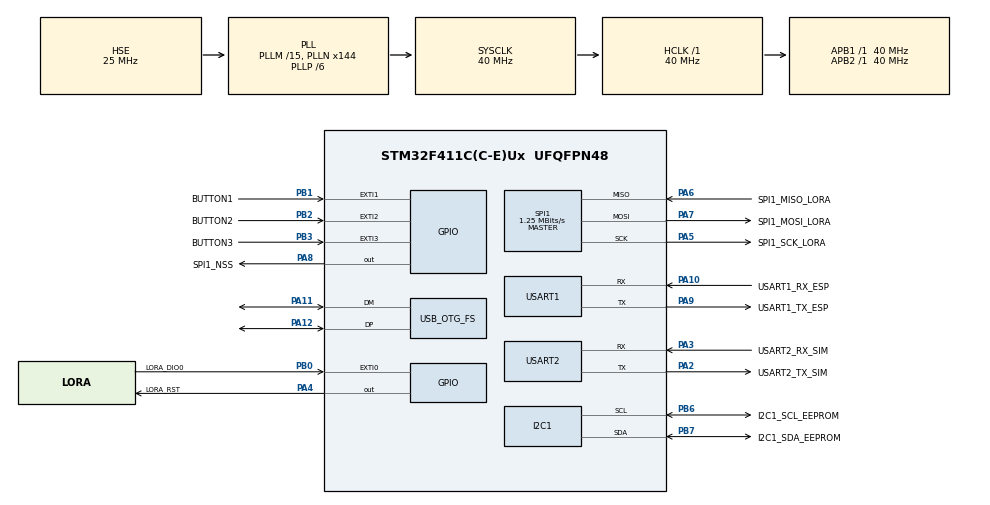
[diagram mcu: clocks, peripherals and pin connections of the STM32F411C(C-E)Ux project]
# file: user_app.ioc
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FREERTOS.Tasks01=defaultTask,0,128,StartDefaultTask,Default,NULL,Dynamic,NULL,NULL
FREERTOS.configTOTAL_HEAP_SIZE=32768
FREERTOS.configUSE_COUNTING_SEMAPHORES=1
FREERTOS.configUSE_IDLE_HOOK=1
FREERTOS.configUSE_TIMERS=1
I2C1.I2C_Mode=I2C_Standard
Mcu.Family=STM32F4
Mcu.Name=STM32F411C(C-E)Ux
Mcu.Package=UFQFPN48
NVIC.EXTI0_IRQn=true\:7\:0\:true\:false\:true\:true\:true\:true\:true
NVIC.EXTI1_IRQn=true\:8\:0\:true\:false\:true\:true\:true\:true\:true
NVIC.EXTI2_IRQn=true\:8\:0\:true\:false\:true\:true\:true\:true\:true
NVIC.EXTI3_IRQn=true\:8\:0\:true\:false\:true\:true\:true\:true\:true
NVIC.OTG_FS_IRQn=true\:5\:0\:true\:false\:true\:true\:false\:true\:true
NVIC.PriorityGroup=NVIC_PRIORITYGROUP_4
NVIC.TIM2_IRQn=true\:6\:0\:true\:false\:true\:true\:true\:true\:true
NVIC.TIM3_IRQn=true\:5\:0\:true\:false\:true\:false\:false\:true\:true
NVIC.TIM4_IRQn=true\:6\:0\:true\:false\:true\:true\:true\:true\:true
NVIC.TimeBase=TIM3_IRQn
NVIC.TimeBaseIP=TIM3
PA10.GPIO_Label=USART1_RX_ESP
PA10.Mode=Asynchronous
PA10.Signal=USART1_RX
PA11.Mode=Device_Only
PA11.Signal=USB_OTG_FS_DM
PA12.Mode=Device_Only
PA12.Signal=USB_OTG_FS_DP
PA13.Mode=Serial_Wire
PA13.Signal=SYS_JTMS-SWDIO
PA14.Mode=Serial_Wire
PA14.Signal=SYS_JTCK-SWCLK
PA2.GPIO_Label=USART2_TX_SIM
PA2.Mode=Asynchronous
PA2.Signal=USART2_TX
PA3.GPIO_Label=USART2_RX_SIM
PA3.Mode=Asynchronous
PA3.Signal=USART2_RX
PA4.GPIO_Label=LORA_RST
PA4.GPIO_Speed=GPIO_SPEED_FREQ_MEDIUM
PA4.Signal=GPIO_Output
PA5.GPIO_Label=SPI1_SCK_LORA
PA5.Mode=Full_Duplex_Master
PA5.Signal=SPI1_SCK
PA6.GPIO_Label=SPI1_MISO_LORA
PA6.Mode=Full_Duplex_Master
PA6.Signal=SPI1_MISO
PA7.GPIO_Label=SPI1_MOSI_LORA
PA7.Mode=Full_Duplex_Master
PA7.Signal=SPI1_MOSI
PA8.GPIO_Label=SPI1_NSS
PA8.GPIO_Speed=GPIO_SPEED_FREQ_MEDIUM
PA8.Signal=GPIO_Output
PA9.GPIO_Label=USART1_TX_ESP
PA9.Mode=Asynchronous
PA9.Signal=USART1_TX
PB0.GPIO_Label=LORA_DIO0
PB0.Signal=GPXTI0
PB1.GPIO_Label=BUTTON1
PB1.GPIO_PuPd=GPIO_PULLDOWN
PB1.Signal=GPXTI1
PB2.GPIO_Label=BUTTON2
PB2.GPIO_PuPd=GPIO_PULLDOWN
PB2.Signal=GPXTI2
PB3.GPIO_Label=BUTTON3
PB3.GPIO_PuPd=GPIO_PULLDOWN
PB3.Signal=GPXTI3
PB6.GPIO_Label=I2C1_SCL_EEPROM
PB6.Mode=I2C
PB6.Signal=I2C1_SCL
PB7.GPIO_Label=I2C1_SDA_EEPROM
PB7.Mode=I2C
PB7.Signal=I2C1_SDA
PH0\ -\ OSC_IN.Mode=HSE-External-Oscillator
PH0\ -\ OSC_IN.Signal=RCC_OSC_IN
PH1\ -\ OSC_OUT.Mode=HSE-External-Oscillator
PH1\ -\ OSC_OUT.Signal=RCC_OSC_OUT
ProjectManager.HeapSize=0x200
ProjectManager.StackSize=0x400
ProjectManager.TargetToolchain=STM32CubeIDE
RCC.48MHZClocksFreq_Value=48000000
RCC.AHBFreq_Value=40000000
RCC.APB1Freq_Value=40000000
RCC.APB1TimFreq_Value=40000000
RCC.APB2Freq_Value=40000000
RCC.APB2TimFreq_Value=40000000
RCC.CortexFreq_Value=40000000
RCC.HCLKFreq_Value=40000000
RCC.HSE_VALUE=25000000
RCC.HSI_VALUE=16000000
RCC.LSE_VALUE=32768
RCC.PLLM=15
RCC.PLLN=144
RCC.PLLP=RCC_PLLP_DIV6
RCC.PLLQ=5
RCC.SYSCLKFreq_VALUE=40000000
RCC.SYSCLKSource=RCC_SYSCLKSOURCE_PLLCLK
RCC.VCOOutputFreq_Value=240000000
SPI1.BaudRatePrescaler=SPI_BAUDRATEPRESCALER_32
SPI1.CalculateBaudRate=1.25 MBits/s
SPI1.Direction=SPI_DIRECTION_2LINES
SPI1.Mode=SPI_MODE_MASTER
SPI1.VirtualType=VM_MASTER
TIM2.Period=1000-1
TIM2.Prescaler=40-1
TIM4.Period=100-1
TIM4.Prescaler=40000-1
USART1.VirtualMode=VM_ASYNC
USART2.VirtualMode=VM_ASYNC
USB_DEVICE.APP_RX_DATA_SIZE=64
USB_DEVICE.APP_TX_DATA_SIZE=64
USB_DEVICE.CLASS_NAME_FS=CDC
USB_DEVICE.VirtualMode=Cdc
USB_DEVICE.VirtualModeFS=Cdc_FS
USB_OTG_FS.VirtualMode=Device_Only
VP_FREERTOS_VS_CMSIS_V1.Mode=CMSIS_V1
VP_SYS_VS_tim3.Mode=TIM3
VP_TIM2_VS_ClockSourceINT.Mode=Internal
VP_TIM4_VS_ClockSourceINT.Mode=Internal
VP_USB_DEVICE_VS_USB_DEVICE_CDC_FS.Mode=CDC_FS
board=custom

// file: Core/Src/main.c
/* USER CODE BEGIN Header */
/**
  ******************************************************************************
  * @file           : main.c
  * @brief          : Main program body
  ******************************************************************************
  * @attention
  *
  * Copyright (c) 2025 STMicroelectronics.
  * All rights reserved.
  *
  * This software is licensed under terms that can be found in the LICENSE file
  * in the root directory of this software component.
  * If no LICENSE file comes with this software, it is provided AS-IS.
  *
  ******************************************************************************
  */
/* USER CODE END Header */
#include "main.h"
#include "cmsis_os.h"
#include "usb_device.h"

/* USER CODE BEGIN Includes */
#include "string.h"
#include "lora_network.h"
/* USER CODE END Includes */

/* USER CODE BEGIN PM */
extern LoRa myLoRa;
/* USER CODE END PM */

I2C_HandleTypeDef hi2c1;

SPI_HandleTypeDef hspi1;

TIM_HandleTypeDef htim2;
TIM_HandleTypeDef htim4;

UART_HandleTypeDef huart1;
UART_HandleTypeDef huart2;

void SystemClock_Config(void);
static void MX_GPIO_Init(void);
static void MX_USART1_UART_Init(void);
static void MX_SPI1_Init(void);
static void MX_I2C1_Init(void);
static void MX_USART2_UART_Init(void);
static void MX_TIM2_Init(void);
static void MX_TIM4_Init(void);
void StartDefaultTask(void const * argument);

/* USER CODE BEGIN PFP */
volatile uint8_t a = 0;
/* USER CODE END PFP */

/* USER CODE BEGIN 0 */

void HAL_GPIO_EXTI_Callback(uint16_t GPIO_Pin){
	if((GPIO_Pin == BUTTON1_Pin)){
		__HAL_GPIO_EXTI_CLEAR_IT(GPIO_Pin);
		HAL_Delay(1000);
		if(HAL_GPIO_ReadPin(GPIOB, GPIO_Pin) == GPIO_PIN_RESET) return;
		uint8_t test_buffer[3];
		HAL_UART_Transmit(&huart2, "Test1\n", 6, 2000);

		test_buffer[0] = 0;
		test_buffer[1] = PC_CMD_CONNECT_TO_ALL_NODES;
		test_buffer[2] = 0;
		pc_user_cmd_handle(test_buffer);

	}
	else if(GPIO_Pin == BUTTON2_Pin){
		__HAL_GPIO_EXTI_CLEAR_IT(GPIO_Pin);
		HAL_Delay(1000);
		if(HAL_GPIO_ReadPin(GPIOB, GPIO_Pin) == GPIO_PIN_RESET) return;
		HAL_UART_Transmit(&huart2, "Test2\n", 6, 2000);
		uint8_t test_buffer[3];
		test_buffer[0] = 0;
		test_buffer[1] = PC_CMD_CONNECT_TO_SPECIFIC_NODE;
		test_buffer[2] = 4;
		pc_user_cmd_handle(test_buffer);

	}

	else if(GPIO_Pin == BUTTON3_Pin){
		__HAL_GPIO_EXTI_CLEAR_IT(GPIO_Pin);
		HAL_Delay(1000);
		if(HAL_GPIO_ReadPin(BUTTON3_GPIO_Port, GPIO_Pin) == GPIO_PIN_RESET) return;
		HAL_UART_Transmit(&huart2, "Test3\n", 6, 2000);
		uint8_t test_buffer[3];

		test_buffer[0] = 0;
		test_buffer[1] = PC_CMD_DISCONNECT_TO_ALL_NODES;
		test_buffer[2] = 0;
		pc_user_cmd_handle(test_buffer);
	}

	else if(GPIO_Pin == LORA_DIO0_Pin){
		int buf = 0;
		HAL_UART_Transmit(&huart2, "DIO0\n", 5, 2000);
		lora_network_irq_handle();
	}
}

/* USER CODE END 0 */

int main(void)
{

  /* MCU Configuration--------------------------------------------------------*/

  /* Reset of all peripherals, Initializes the Flash interface and the Systick. */
  HAL_Init();

  /* Configure the system clock */
  SystemClock_Config();

  /* Initialize all configured peripherals */
  MX_GPIO_Init();
  HAL_Delay(200);
  MX_USB_DEVICE_Init();

  MX_USART1_UART_Init();
  MX_SPI1_Init();
  MX_I2C1_Init();
  MX_USART2_UART_Init();
  MX_TIM2_Init();
  MX_TIM4_Init();
  /* USER CODE BEGIN 2 */

  lora_network_init(5);

  /* USER CODE END 2 */

  /* Create the thread(s) */
  /* definition and creation of defaultTask */

  /* Start scheduler */
  vTaskStartScheduler();

  /* We should never get here as control is now taken by the scheduler */

  /* Infinite loop */
  while (1)
  {

  }
}

void SystemClock_Config(void)
{
  RCC_OscInitTypeDef RCC_OscInitStruct = {0};
  RCC_ClkInitTypeDef RCC_ClkInitStruct = {0};

  /** Configure the main internal regulator output voltage
  */
  __HAL_RCC_PWR_CLK_ENABLE();
  __HAL_PWR_VOLTAGESCALING_CONFIG(PWR_REGULATOR_VOLTAGE_SCALE1);

  /** Initializes the RCC Oscillators according to the specified parameters
  * in the RCC_OscInitTypeDef structure.
  */
  RCC_OscInitStruct.OscillatorType = RCC_OSCILLATORTYPE_HSE;
  RCC_OscInitStruct.HSEState = RCC_HSE_ON;
  RCC_OscInitStruct.PLL.PLLState = RCC_PLL_ON;
  RCC_OscInitStruct.PLL.PLLSource = RCC_PLLSOURCE_HSE;
  RCC_OscInitStruct.PLL.PLLM = 15;
  RCC_OscInitStruct.PLL.PLLN = 144;
  RCC_OscInitStruct.PLL.PLLP = RCC_PLLP_DIV6;
  RCC_OscInitStruct.PLL.PLLQ = 5;
  if (HAL_RCC_OscConfig(&RCC_OscInitStruct) != HAL_OK)
  {
    Error_Handler();
  }

  /** Initializes the CPU, AHB and APB buses clocks
  */
  RCC_ClkInitStruct.ClockType = RCC_CLOCKTYPE_HCLK|RCC_CLOCKTYPE_SYSCLK
                              |RCC_CLOCKTYPE_PCLK1|RCC_CLOCKTYPE_PCLK2;
  RCC_ClkInitStruct.SYSCLKSource = RCC_SYSCLKSOURCE_PLLCLK;
  RCC_ClkInitStruct.AHBCLKDivider = RCC_SYSCLK_DIV1;
  RCC_ClkInitStruct.APB1CLKDivider = RCC_HCLK_DIV1;
  RCC_ClkInitStruct.APB2CLKDivider = RCC_HCLK_DIV1;

  if (HAL_RCC_ClockConfig(&RCC_ClkInitStruct, FLASH_LATENCY_1) != HAL_OK)
  {
    Error_Handler();
  }
}

static void MX_I2C1_Init(void)
{

  hi2c1.Instance = I2C1;
  hi2c1.Init.ClockSpeed = 100000;
  hi2c1.Init.DutyCycle = I2C_DUTYCYCLE_2;
  hi2c1.Init.OwnAddress1 = 0;
  hi2c1.Init.AddressingMode = I2C_ADDRESSINGMODE_7BIT;
  hi2c1.Init.DualAddressMode = I2C_DUALADDRESS_DISABLE;
  hi2c1.Init.OwnAddress2 = 0;
  hi2c1.Init.GeneralCallMode = I2C_GENERALCALL_DISABLE;
  hi2c1.Init.NoStretchMode = I2C_NOSTRETCH_DISABLE;
  if (HAL_I2C_Init(&hi2c1) != HAL_OK)
  {
    Error_Handler();
  }

}

static void MX_SPI1_Init(void)
{

  /* SPI1 parameter configuration*/
  hspi1.Instance = SPI1;
  hspi1.Init.Mode = SPI_MODE_MASTER;
  hspi1.Init.Direction = SPI_DIRECTION_2LINES;
  hspi1.Init.DataSize = SPI_DATASIZE_8BIT;
  hspi1.Init.CLKPolarity = SPI_POLARITY_LOW;
  hspi1.Init.CLKPhase = SPI_PHASE_1EDGE;
  hspi1.Init.NSS = SPI_NSS_SOFT;
  hspi1.Init.BaudRatePrescaler = SPI_BAUDRATEPRESCALER_32;
  hspi1.Init.FirstBit = SPI_FIRSTBIT_MSB;
  hspi1.Init.TIMode = SPI_TIMODE_DISABLE;
  hspi1.Init.CRCCalculation = SPI_CRCCALCULATION_DISABLE;
  hspi1.Init.CRCPolynomial = 10;
  if (HAL_SPI_Init(&hspi1) != HAL_OK)
  {
    Error_Handler();
  }

}

static void MX_TIM2_Init(void)
{

  TIM_ClockConfigTypeDef sClockSourceConfig = {0};
  TIM_MasterConfigTypeDef sMasterConfig = {0};

  htim2.Instance = TIM2;
  htim2.Init.Prescaler = 40000-1;
  htim2.Init.CounterMode = TIM_COUNTERMODE_UP;
  htim2.Init.Period = 1000-1;
  htim2.Init.ClockDivision = TIM_CLOCKDIVISION_DIV1;
  htim2.Init.AutoReloadPreload = TIM_AUTORELOAD_PRELOAD_DISABLE;
  if (HAL_TIM_Base_Init(&htim2) != HAL_OK)
  {
    Error_Handler();
  }
  sClockSourceConfig.ClockSource = TIM_CLOCKSOURCE_INTERNAL;
  if (HAL_TIM_ConfigClockSource(&htim2, &sClockSourceConfig) != HAL_OK)
  {
    Error_Handler();
  }
  sMasterConfig.MasterOutputTrigger = TIM_TRGO_RESET;
  sMasterConfig.MasterSlaveMode = TIM_MASTERSLAVEMODE_DISABLE;
  if (HAL_TIMEx_MasterConfigSynchronization(&htim2, &sMasterConfig) != HAL_OK)
  {
    Error_Handler();
  }

}

static void MX_TIM4_Init(void)
{

  TIM_ClockConfigTypeDef sClockSourceConfig = {0};
  TIM_MasterConfigTypeDef sMasterConfig = {0};

  htim4.Instance = TIM4;
  htim4.Init.Prescaler = 40000-1;
  htim4.Init.CounterMode = TIM_COUNTERMODE_UP;
  htim4.Init.Period = 100-1;
  htim4.Init.ClockDivision = TIM_CLOCKDIVISION_DIV1;
  htim4.Init.AutoReloadPreload = TIM_AUTORELOAD_PRELOAD_DISABLE;
  if (HAL_TIM_Base_Init(&htim4) != HAL_OK)
  {
    Error_Handler();
  }
  sClockSourceConfig.ClockSource = TIM_CLOCKSOURCE_INTERNAL;
  if (HAL_TIM_ConfigClockSource(&htim4, &sClockSourceConfig) != HAL_OK)
  {
    Error_Handler();
  }
  sMasterConfig.MasterOutputTrigger = TIM_TRGO_RESET;
  sMasterConfig.MasterSlaveMode = TIM_MASTERSLAVEMODE_DISABLE;
  if (HAL_TIMEx_MasterConfigSynchronization(&htim4, &sMasterConfig) != HAL_OK)
  {
    Error_Handler();
  }

}

static void MX_USART1_UART_Init(void)
{

  huart1.Instance = USART1;
  huart1.Init.BaudRate = 115200;
  huart1.Init.WordLength = UART_WORDLENGTH_8B;
  huart1.Init.StopBits = UART_STOPBITS_1;
  huart1.Init.Parity = UART_PARITY_NONE;
  huart1.Init.Mode = UART_MODE_TX_RX;
  huart1.Init.HwFlowCtl = UART_HWCONTROL_NONE;
  huart1.Init.OverSampling = UART_OVERSAMPLING_16;
  if (HAL_UART_Init(&huart1) != HAL_OK)
  {
    Error_Handler();
  }

}

static void MX_USART2_UART_Init(void)
{

  huart2.Instance = USART2;
  huart2.Init.BaudRate = 115200;
  huart2.Init.WordLength = UART_WORDLENGTH_8B;
  huart2.Init.StopBits = UART_STOPBITS_1;
  huart2.Init.Parity = UART_PARITY_NONE;
  huart2.Init.Mode = UART_MODE_TX_RX;
  huart2.Init.HwFlowCtl = UART_HWCONTROL_NONE;
  huart2.Init.OverSampling = UART_OVERSAMPLING_16;
  if (HAL_UART_Init(&huart2) != HAL_OK)
  {
    Error_Handler();
  }

}

static void MX_GPIO_Init(void)
{
  GPIO_InitTypeDef GPIO_InitStruct = {0};

  /* GPIO Ports Clock Enable */
  __HAL_RCC_GPIOH_CLK_ENABLE();
  __HAL_RCC_GPIOA_CLK_ENABLE();
  __HAL_RCC_GPIOB_CLK_ENABLE();

  /*Configure GPIO pin Output Level */
  HAL_GPIO_WritePin(GPIOA, LORA_RST_Pin|SPI1_NSS_Pin, GPIO_PIN_RESET);

  /*Configure GPIO pins : LORA_RST_Pin SPI1_NSS_Pin */
  GPIO_InitStruct.Pin = LORA_RST_Pin|SPI1_NSS_Pin;
  GPIO_InitStruct.Mode = GPIO_MODE_OUTPUT_PP;
  GPIO_InitStruct.Pull = GPIO_NOPULL;
  GPIO_InitStruct.Speed = GPIO_SPEED_FREQ_MEDIUM;
  HAL_GPIO_Init(GPIOA, &GPIO_InitStruct);

  /*Configure GPIO pin : LORA_DIO0_Pin */
  GPIO_InitStruct.Pin = LORA_DIO0_Pin;
  GPIO_InitStruct.Mode = GPIO_MODE_IT_RISING;
  GPIO_InitStruct.Pull = GPIO_NOPULL;
  HAL_GPIO_Init(LORA_DIO0_GPIO_Port, &GPIO_InitStruct);

  /*Configure GPIO pins : BUTTON1_Pin BUTTON2_Pin BUTTON3_Pin */
  GPIO_InitStruct.Pin = BUTTON1_Pin|BUTTON2_Pin|BUTTON3_Pin;
  GPIO_InitStruct.Mode = GPIO_MODE_IT_RISING;
  GPIO_InitStruct.Pull = GPIO_PULLDOWN;
  HAL_GPIO_Init(GPIOB, &GPIO_InitStruct);

  /* EXTI interrupt init*/
  HAL_NVIC_SetPriority(EXTI0_IRQn, 7, 0);
  HAL_NVIC_EnableIRQ(EXTI0_IRQn);

  HAL_NVIC_SetPriority(EXTI1_IRQn, 8, 0);
  HAL_NVIC_EnableIRQ(EXTI1_IRQn);

  HAL_NVIC_SetPriority(EXTI2_IRQn, 8, 0);
  HAL_NVIC_EnableIRQ(EXTI2_IRQn);

  HAL_NVIC_SetPriority(EXTI3_IRQn, 8, 0);
  HAL_NVIC_EnableIRQ(EXTI3_IRQn);

}

/* USER CODE BEGIN 4 */
void vApplicationIdleHook(void){
	while(1){
	}
}

/* USER CODE END 4 */

void StartDefaultTask(void const * argument)
{
  /* init code for USB_DEVICE */

  for(;;)
  {
  }
}

void HAL_TIM_PeriodElapsedCallback(TIM_HandleTypeDef *htim)
{
  if (htim->Instance == TIM3) {
    HAL_IncTick();
  }
  /* USER CODE BEGIN Callback 1 */
  else if (htim->Instance == TIM2){
	  lora_network_send_request_scheduler();
  }

  else if (htim->Instance == TIM4){
	  lora_network_timer_handle();
  }
  /* USER CODE END Callback 1 */
}

void Error_Handler(void)
{
  __disable_irq();
  while (1)
  {
  }
}

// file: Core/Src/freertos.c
/* USER CODE BEGIN Header */
/**
  ******************************************************************************
  * File Name          : freertos.c
  * Description        : Code for freertos applications
  ******************************************************************************
  * @attention
  *
  * Copyright (c) 2025 STMicroelectronics.
  * All rights reserved.
  *
  * This software is licensed under terms that can be found in the LICENSE file
  * in the root directory of this software component.
  * If no LICENSE file comes with this software, it is provided AS-IS.
  *
  ******************************************************************************
  */
/* USER CODE END Header */

#include "FreeRTOS.h"
#include "task.h"
#include "main.h"

/* GetIdleTaskMemory prototype (linked to static allocation support) */
void vApplicationGetIdleTaskMemory( StaticTask_t **ppxIdleTaskTCBBuffer, StackType_t **ppxIdleTaskStackBuffer, uint32_t *pulIdleTaskStackSize );

/* GetTimerTaskMemory prototype (linked to static allocation support) */
void vApplicationGetTimerTaskMemory( StaticTask_t **ppxTimerTaskTCBBuffer, StackType_t **ppxTimerTaskStackBuffer, uint32_t *pulTimerTaskStackSize );

/* Hook prototypes */
void vApplicationIdleHook(void);

/* USER CODE BEGIN 2 */
__weak void vApplicationIdleHook( void )
{
   /* vApplicationIdleHook() will only be called if configUSE_IDLE_HOOK is set
   to 1 in FreeRTOSConfig.h. It will be called on each iteration of the idle
   task. It is essential that code added to this hook function never attempts
   to block in any way (for example, call xQueueReceive() with a block time
   specified, or call vTaskDelay()). If the application makes use of the
   vTaskDelete() API function (as this demo application does) then it is also
   important that vApplicationIdleHook() is permitted to return to its calling
   function, because it is the responsibility of the idle task to clean up
   memory allocated by the kernel to any task that has since been deleted. */
}
/* USER CODE END 2 */

/* USER CODE BEGIN GET_IDLE_TASK_MEMORY */
static StaticTask_t xIdleTaskTCBBuffer;
static StackType_t xIdleStack[configMINIMAL_STACK_SIZE];

void vApplicationGetIdleTaskMemory( StaticTask_t **ppxIdleTaskTCBBuffer, StackType_t **ppxIdleTaskStackBuffer, uint32_t *pulIdleTaskStackSize )
{
  *ppxIdleTaskTCBBuffer = &xIdleTaskTCBBuffer;
  *ppxIdleTaskStackBuffer = &xIdleStack[0];
  *pulIdleTaskStackSize = configMINIMAL_STACK_SIZE;
  /* place for user code */
}
/* USER CODE END GET_IDLE_TASK_MEMORY */

/* USER CODE BEGIN GET_TIMER_TASK_MEMORY */
static StaticTask_t xTimerTaskTCBBuffer;
static StackType_t xTimerStack[configTIMER_TASK_STACK_DEPTH];

void vApplicationGetTimerTaskMemory( StaticTask_t **ppxTimerTaskTCBBuffer, StackType_t **ppxTimerTaskStackBuffer, uint32_t *pulTimerTaskStackSize )
{
  *ppxTimerTaskTCBBuffer = &xTimerTaskTCBBuffer;
  *ppxTimerTaskStackBuffer = &xTimerStack[0];
  *pulTimerTaskStackSize = configTIMER_TASK_STACK_DEPTH;
  /* place for user code */
}
/* USER CODE END GET_TIMER_TASK_MEMORY */
